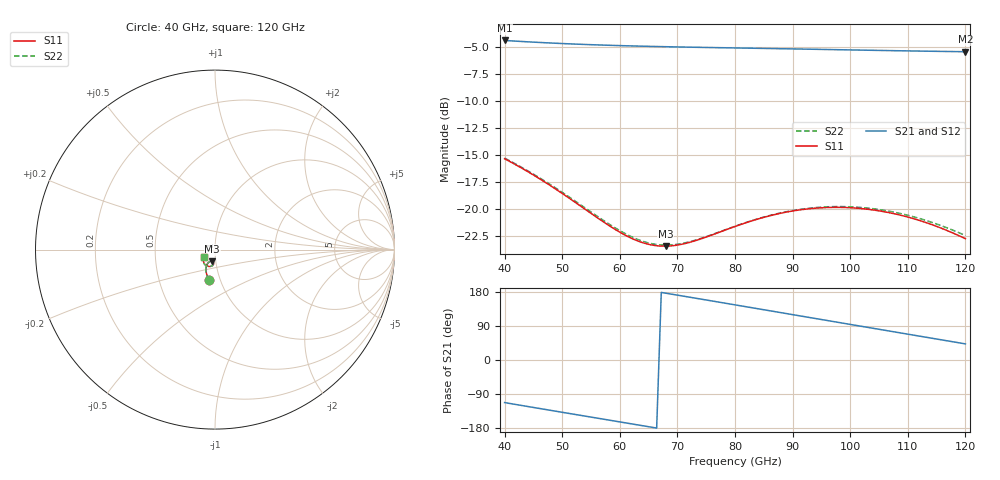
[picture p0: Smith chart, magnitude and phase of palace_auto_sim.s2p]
#  GHZ S DB R 50
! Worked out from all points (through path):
!   101 points, 40 GHz to 120 GHz, reference 50 ohm
!   highest |S21| = -4.42 dB at 40 GHz (marker M1); lowest = -5.5 dB at 120 GHz (marker M2)
!   group delay of S21, straight-line fit = 7.12 ps
!   lowest |S11| = -23.5 dB at 68 GHz (marker M3), VSWR 1.14, Z = 48.1 - j6.28 ohm
!   |S11| at or under -10 dB: start of sweep to end of sweep
!   |S22| runs from -23.4 to -15.3 dB; largest |S21 - S12| = 6.9e-14
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40  -15.39 -100.7  -4.42 -112.4  -4.42 -112.4  -15.33 -100.8
43.2  -16.32 -106.3  -4.52 -120.6  -4.52 -120.6  -16.25 -106.5
47.2  -17.62 -112.2  -4.64 -130.8  -4.64 -130.8  -17.53 -112.4
53.6  -19.93 -117.6  -4.79 -147.1  -4.79 -147.1  -19.80 -118.0
57.6  -21.39 -117.4  -4.86 -157.3  -4.86 -157.3  -21.25 -118.0
61.6  -22.65 -113.9  -4.92 -167.4  -4.92 -167.4  -22.51 -114.7
64.8  -23.29 -109.0  -4.97 -175.6  -4.97 -175.6  -23.17 -110.1
67.2  -23.48 -104.9  -4.99 178.3  -4.99 178.3  -23.38 -106.0
68  -23.49 -103.5  -5.00 176.3  -5.00 176.3  -23.39 -104.7
70.4  -23.35 -99.9  -5.03 170.2  -5.03 170.2  -23.28 -101.1
73.6  -22.90 -96.6  -5.06 162.0  -5.06 162.0  -22.85 -97.8
80  -21.67 -96.0  -5.12 145.5  -5.12 145.5  -21.64 -96.9
84  -20.97 -98.7  -5.15 135.2  -5.15 135.2  -20.94 -99.5
87.2  -20.52 -102.1  -5.18 127.0  -5.18 127.0  -20.49 -102.7
90.4  -20.19 -106.1  -5.21 118.7  -5.21 118.7  -20.15 -106.7
93.6  -19.98 -110.6  -5.24 110.4  -5.24 110.4  -19.93 -111.1
96.8  -19.90 -115.4  -5.27 102.2  -5.27 102.2  -19.83 -115.8
100  -19.93 -120.3  -5.30 93.9  -5.30 93.9  -19.84 -120.6
103.2  -20.08 -125.1  -5.33 85.7  -5.33 85.7  -19.97 -125.4
107.2  -20.43 -131.0  -5.36 75.4  -5.36 75.4  -20.29 -131.2
113.6  -21.38 -139.2  -5.42 59.0  -5.42 59.0  -21.18 -139.4
120  -22.79 -144.7  -5.47 42.5  -5.47 42.5  -22.50 -145.0
